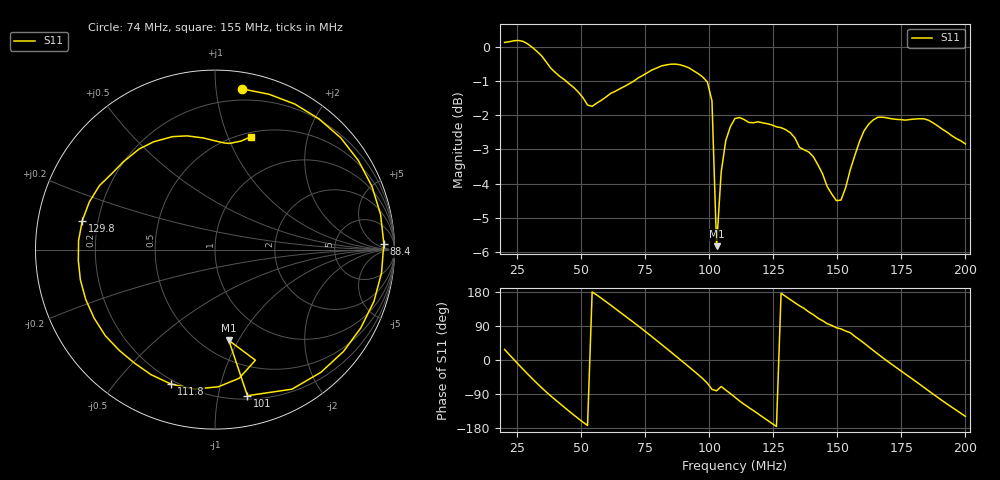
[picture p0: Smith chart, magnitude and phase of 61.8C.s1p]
# HZ S RI R 50
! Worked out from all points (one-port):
!   101 points, 20 MHz to 200 MHz, reference 50 ohm
!   lowest |S11| = -5.8 dB at 102.8 MHz (marker M1), VSWR 3.09, Z = 33.3 - j45.7 ohm
!   |S11| at or under -10 dB: nowhere
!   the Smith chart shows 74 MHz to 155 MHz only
!   S11 on the Smith chart (normalised r, x): 74 MHz: 0.12, +1.18; 88.4 MHz: 25, +14; 101 MHz: 0.23, -1.22; 111.8 MHz: 0.18, -0.71; 129.8 MHz: 0.14, +0.11; 155 MHz: 0.54, +1.22
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2e7  0.8971 0.4734
2.54e7  1 -0.2064
3.26e7  0.4767 -0.8616
3.8e7  -0.0772 -0.9276
4.34e7  -0.5151 -0.7317
4.88e7  -0.7751 -0.3685
5.42e7  -0.8183 0.00413
6.5e7  -0.5171 0.6972
7.4e7  0.1514 0.8953
8.12e7  0.7 0.6233
8.84e7  0.9408 0.0324
9.56e7  0.7152 -0.5683
1.01e8  0.1807 -0.814
1.028e8  0.077 -0.5058
1.046e8  0.2251 -0.6161
1.1e8  -0.1145 -0.7772
1.118e8  -0.2453 -0.7491
1.208e8  -0.673 -0.3826
1.298e8  -0.7394 0.1608
1.334e8  -0.6437 0.3566
1.424e8  -0.2361 0.6294
1.55e8  0.2016 0.6294
1.604e8  0.5372 0.5286
1.658e8  0.7588 0.2164
1.712e8  0.7699 -0.152
1.784e8  0.5458 -0.5614
1.874e8  -0.00145 -0.774
2e8  -0.6159 -0.3753
